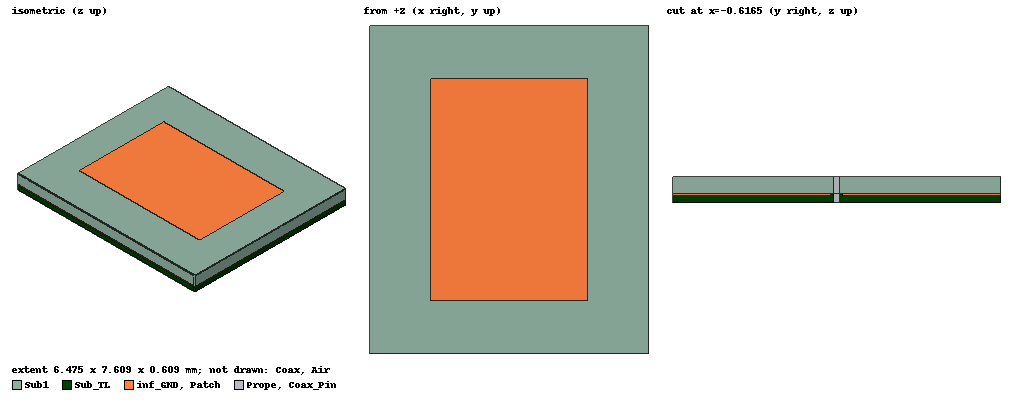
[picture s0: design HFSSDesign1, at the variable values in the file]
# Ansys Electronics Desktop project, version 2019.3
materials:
  vacuum: permittivity=1
  Rogers RT/duroid 5880 (tm): permittivity=2.2 dielectric_loss_tangent=0.0009
  pec: conductivity=1e+30
  Rogers RO4003 (tm): permittivity=3.55 dielectric_loss_tangent=0.0027

design HFSSDesign1 (HFSS, DrivenModal, model units mm)
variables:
  Lp = 3.633mm  # optimise 1.961496581mm..5.884489743mm
  Wp = 5.173mm  # optimise 2.538622579mm..7.615867737mm
  hs = 0.406mm
  Ws = 7.609mm
  Ls = 6.475mm
  xsub = -3.2375mm
  ysub = -3.8045mm
  xfeed = 1.2mm  # optimise 0.4620027115mm..1.3860081345mm
  rcoax = 0.14mm
  hcoax = 0.203mm
  rprope = 0.07mm
  Lair = 16.475mm
  Wair = 17.609mm
  xair = 8.2375mm
  yair = 8.8045mm
  hair = 5mm
  yfeed = 0mm
  xp = -1.8165mm
  yp = -2.5865mm
  hgnd = -0.032mm
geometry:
  Sub1 [Rogers RO4003 (tm)] = box(corner=(xsub, ysub, 0mm), size=(Ls, Ws, hs))
  Patch [Rogers RT/duroid 5880 (tm)] = rectangle(corner=(xp, yp, hs), x_size=Lp, y_size=Wp)
  Coax [vacuum] = cylinder(axis=Z, base_centre=(xp+xfeed, yfeed, 0mm), radius=rcoax, height=-hcoax)
  Coax_Pin [pec] = cylinder(axis=Z, base_centre=(xp+xfeed, yfeed, 0mm), radius=rprope, height=-hcoax)
  Prope [pec] = cylinder(axis=Z, base_centre=(xp+xfeed, yfeed, 0mm), radius=rprope, height=hs)
  Air [vacuum] = box(corner=(-xair, -yair, 0), size=(Lair, Wair, hair))
  inf_GND [pec] = box(corner=(xsub, ysub, 0mm), size=(Ls, Ws, hgnd))
  Cylinder_cut_1 = cylinder(axis=Z, base_centre=(xp+xfeed, yfeed, 0), radius=rcoax, height=hgnd)
  inf_GND.subtract(Cylinder_cut_1)
  Sub_TL [Rogers RO4003 (tm)] = box(corner=(xsub, ysub, 0mm), size=(Ls, Ws, -hcoax))
  Circle2 = circle(normal=Z, centre=(xfeed+xp, 0mm, -hcoax), radius=rcoax)
  group Input_feed1 = Coax, Coax_Pin, Prope
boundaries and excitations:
  PerfE_Patch: Perfect E Objects=Patch
  Rad1: Radiation Faces=Air.face(+x, +y, -y, -x, +z)
  1: Lumped Port Objects=Circle2 Modes{Mode1{IntLine{Circle2.vertex(1 of 1) -> middle of Circle2.edge(1 of 1)} CharImp=Zpi RenormImp=50ohm}} Impedance=50ohm
  reference conductors: inf_GND
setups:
  Setup1: HfssDriven Frequency=20GHz MaxDeltaS=0.02 MaximumPasses=18 MinimumPasses=1 MinimumConvergedPasses=1 PercentRefinement=30 BasisOrder=1 PortAccuracy=2
    sweep Sweep: 10GHz to 30GHz step 0.1GHz; Type=Fast SaveFields SaveRadFields GenerateFieldsForAllFreqs
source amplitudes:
  1:1: 1W 0deg
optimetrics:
  OptimizationSetup1: Optimization Optimizer="Quasi Newton" AnalysisStopOptions{StopForNumIteration MaxNumIteration=1000 MinNumIteration=10} CostFuncNormType=L2 Acceptable_Cost=0 Noise=0.0001 UpdateDesignWhenDone
    vary Lp: Min=1.961496581mm Max=5.884489743mm MinStep=0.039229932mm MaxStep=0.39229932mm MinFocus=1.961496581mm MaxFocus=5.884489743mm start=4mm
    vary xfeed: Min=0.46200271mm Max=1.3860081mm MinStep=0.0092400542mm MaxStep=0.092400542mm MinFocus=0.46200271mm MaxFocus=1.3860081mm start=0.915806943mm
    goal dB(S(1,1)) <= -15 weight 5 on Setup1 : Sweep at Freq 20GHz
    goal mag(Z(1,1)) >= 20 weight 1 on Setup1 : Sweep at Freq 20GHz
    goal mag(Z(1,1)) >= 50 weight 1 on Setup1 : Sweep at Freq 20GHz
  ParametricSetup1: Parametric Sim._Setups=[Setup1]
    sweep Lp: LIN 1mm 5mm 1mm
    sweep Wp: LIN 1mm 10mm 1mm
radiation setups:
  e_plane: Infinite Sphere Theta=-180deg..180deg step 2deg Phi=0deg..0deg step 1deg
  h_plane: Infinite Sphere Theta=-180deg..180deg step 2deg Phi=90deg..90deg step 1deg
  3d: Infinite Sphere Theta=-180deg..180deg step 2deg Phi=0deg..360deg step 2deg
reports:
  Co_X_graph: dB10normalize(GainPhi), dB10normalize(GainTheta) vs Theta on Setup1 : LastAdaptive, e_plane [Phi=0deg Freq=20GHz]
  Gain_2D: GainTotal vs Theta on Setup1 : LastAdaptive, e_plane [Phi=all Freq=20GHz]
  VSWR: VSWR(1) vs Freq on Setup1 : Sweep; markers m1 at 20GHz
  Gain_3D: mag(GainTotal) vs Phi, Theta on Setup1 : LastAdaptive, 3d [Freq=20GHz]
  S11: dB(S(1,1)) vs Freq on Setup1 : Sweep; markers MX1 at x=2e+10
  ZIn: mag(Z(1,1)) vs Freq on Setup1 : Sweep; markers MX1 at x=2.000993e+10
  C0_X_db10normalized: dB10normalize(GainPhi), dB10normalize(GainTheta) vs Theta on Setup1 : LastAdaptive, h_plane [Phi=90deg Freq=20GHz]; markers m1 at 24deg
  Gain Plot 1: dB(GainPhi) vs Freq on Setup1 : Sweep, 3d [Freq=10GHz,10.1GHz,10.2GHz,10.3GHz,10.4GHz,10.5GHz,10.6GHz,10.7GHz,10.8GHz,10.9GHz,11GHz,11.1GHz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 Phi=0deg Theta=0deg]; dB(GainTheta) vs Freq on Setup1 : Sweep, e_plane [Phi=0deg Theta=0deg]
  Gain Plot 2: dB(GainPhi), dB(GainTheta) vs Freq on Setup1 : Sweep, 3d [Freq=10GHz,10.1GHz,10.2GHz,10.3GHz,10.4GHz,10.5GHz,10.6GHz,10.7GHz,10.8GHz,10.9GHz,11GHz,11.1GHz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 Phi=0deg Theta=0deg]
  Directivity Plot 1: dB(DirTotal) vs Freq on Setup1 : Sweep, 3d [Phi=0deg Theta=0deg]
  Eradation_pattern: dB(rETotal) vs Theta on Setup1 : LastAdaptive, e_plane [Phi=0deg Freq=20GHz]
  Hradation_pattern: dB(rETotal) vs Theta on Setup1 : Sweep, h_plane [Phi=90deg Freq=20GHz]; markers m1 at 0deg, m2 at -180deg
